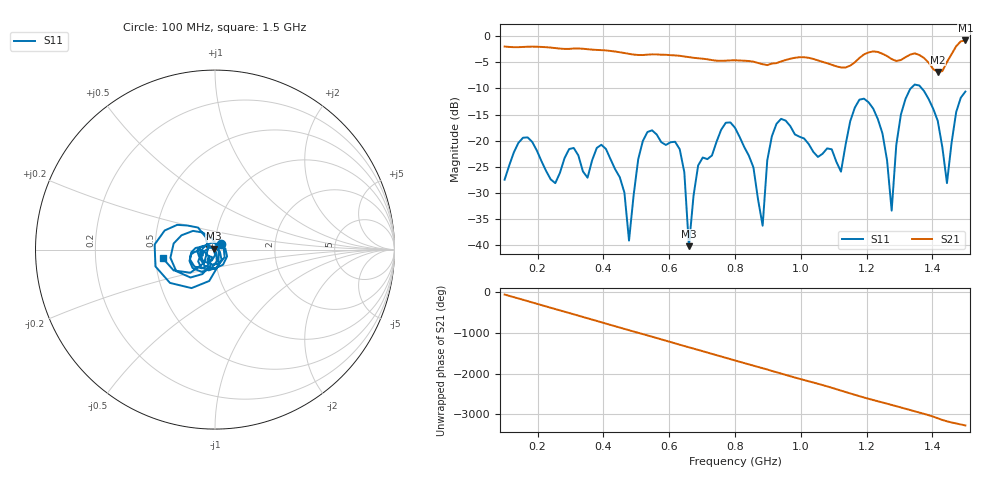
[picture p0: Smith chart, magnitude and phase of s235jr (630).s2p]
! NanoVNA-App
! Date: 2025-09-25 15:09:04
! Start: 100MHz Stop: 1,5GHz Points: 101
! S-Parameter data: F S11 S21 S12 S22
# Hz S RI R 50
!  Frequency  S11_Real  S11_Imag  S21_Real  S21_Imag  S12_Real  S12_Imag  S22_Real  S22_Imag
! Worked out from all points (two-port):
!   101 points, 100 MHz to 1.5 GHz, reference 50 ohm
!   highest |S21| = -0.80 dB at 1.5 GHz (marker M1); lowest = -6.8 dB at 1.416 GHz (marker M2)
!   |S21| within 3 dB of the highest: start of sweep to 638.4 MHz; 1.185 GHz to 1.262 GHz (76.95 MHz wide, 6.29 % of centre) (the widest 2 of 4)
!   lowest |S11| = -40.2 dB at 660 MHz (marker M3), VSWR 1.02, Z = 49.2 + j0.545 ohm
!   |S11| at or under -10 dB: start of sweep to 1.334 GHz; 1.368 GHz to end of sweep
!   S12 and S22 are empty: the file has one direction only
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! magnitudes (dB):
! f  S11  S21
! 100 MHz  -27.5  -2.0
! 156 MHz  -19.4  -2.0
! 338 MHz  -25.9  -2.4
! 408 MHz  -21.6  -2.7
! 478 MHz  -39.1  -3.4
! 520 MHz  -20.1  -3.6
! 576 MHz  -20.3  -3.5
! 632 MHz  -21.6  -3.7
! 660 MHz  -40.2  -4.0
! 688 MHz  -24.8  -4.2
! 800 MHz  -17.5  -4.6
! 884 MHz  -36.3  -5.3
! 926 MHz  -16.8  -5.1
! 1.038 GHz  -22.2  -4.3
! 1.122 GHz  -25.9  -6.0
! 1.192 GHz  -12.0  -3.5
! 1.248 GHz  -18.6  -3.3
! 1.276 GHz  -33.4  -4.4
! 1.332 GHz  -10.1  -3.5
! 1.416 GHz  -16.2  -6.8
! 1.444 GHz  -28.1  -4.9
! 1.5 GHz  -10.6  -0.8
